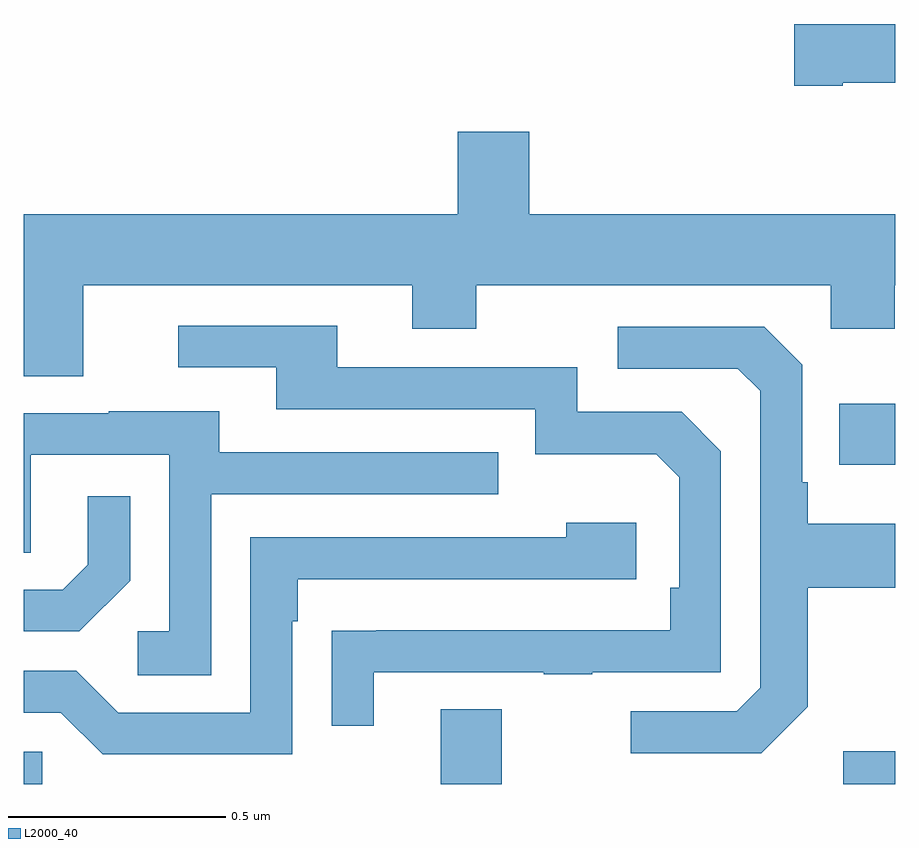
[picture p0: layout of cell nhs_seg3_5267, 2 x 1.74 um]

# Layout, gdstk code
import gdstk
lib = gdstk.Library(unit=1e-6, precision=1e-09)
def R(c, l, rs):  # rectangles x0, y0, x1, y1
    for r in rs: c.add(gdstk.rectangle(r[:2], r[2:], *l))
def P(c, l, *ps):  # polygons
    for p in ps: c.add(gdstk.Polygon(p, *l))
L2000_40 = (2000, 40)

nhs_seg3_5267 = lib.new_cell('nhs_seg3_5267')
R(nhs_seg3_5267, L2000_40, [(176,738.4,176.043,738.474), (176.957,738.4,177.097,738.571), (177.881,738.4,178,738.475), (177.871,739.133,178,739.273)])
P(nhs_seg3_5267, L2000_40, [(177.88,740.009),(178,740.009),(178,740.144),(177.768,740.144),(177.768,740.002),(177.88,740.002)],
  [(176.137,739.544),(176.891,739.544),(176.891,739.445),(177.039,739.445),(177.039,739.544),(177.852,739.544),(177.852,739.445),(177.999,739.445),(177.999,739.544),(178,739.544),(178,739.708),(177.16,739.708),(177.16,739.897),(176.996,739.897),(176.996,739.708),(176,739.708),(176,739.336),(176.137,739.336)],
  [(176.803,738.657),(177.193,738.657),(177.193,738.652),(177.305,738.652),(177.305,738.657),(177.6,738.657),(177.6,739.164),(177.51,739.254),(177.27,739.254),(177.27,739.356),(176.719,739.356),(176.719,739.452),(176.355,739.452),(176.355,739.356),(176.579,739.356),(176.579,739.26),(177.174,739.26),(177.174,739.157),(177.451,739.157),(177.504,739.104),(177.504,738.85),(177.484,738.85),(177.484,738.753),(176.809,738.753),(176.809,738.752),(176.707,738.752),(176.707,738.534),(176.803,738.534)],
  [(177.799,738.577),(177.799,738.85),(178,738.85),(178,738.997),(177.799,738.997),(177.799,739.093),(177.786,739.093),(177.786,739.362),(177.699,739.449),(177.363,739.449),(177.363,739.353),(177.639,739.353),(177.69,739.302),(177.69,738.621),(177.636,738.567),(177.393,738.567),(177.393,738.471),(177.693,738.471)],
  [(176.43,739.065),(177.089,739.065),(177.089,739.161),(176.449,739.161),(176.449,739.255),(176.195,739.255),(176.195,739.251),(176,739.251),(176,738.931),(176.016,738.931),(176.016,739.155),(176.334,739.155),(176.334,738.75),(176.262,738.75),(176.262,738.649),(176.43,738.649)],
  [(176.244,738.866),(176.244,739.06),(176.147,739.06),(176.147,738.903),(176.09,738.846),(176,738.846),(176,738.75),(176.128,738.75)],
  [(176.616,738.773),(176.629,738.773),(176.629,738.87),(177.406,738.87),(177.406,739),(177.245,739),(177.245,738.966),(176.52,738.966),(176.52,738.564),(176.217,738.564),(176.121,738.66),(176,738.66),(176,738.564),(176.085,738.564),(176.181,738.468),(176.616,738.468)])

lib.write_gds('nhs_seg3_5267.gds')
